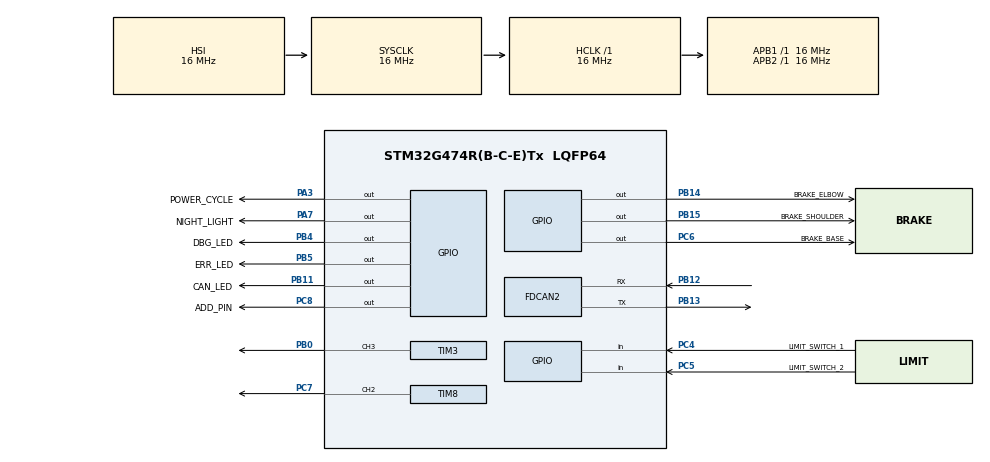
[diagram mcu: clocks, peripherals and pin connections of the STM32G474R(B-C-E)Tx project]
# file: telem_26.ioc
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Dma.Request0=TIM3_CH3
Dma.TIM3_CH3.0.Direction=DMA_MEMORY_TO_PERIPH
Dma.TIM3_CH3.0.EventEnable=DISABLE
Dma.TIM3_CH3.0.Instance=DMA1_Channel1
Dma.TIM3_CH3.0.MemDataAlignment=DMA_MDATAALIGN_HALFWORD
Dma.TIM3_CH3.0.MemInc=DMA_MINC_ENABLE
Dma.TIM3_CH3.0.Mode=DMA_NORMAL
Dma.TIM3_CH3.0.PeriphDataAlignment=DMA_PDATAALIGN_HALFWORD
Dma.TIM3_CH3.0.PeriphInc=DMA_PINC_DISABLE
Dma.TIM3_CH3.0.Polarity=HAL_DMAMUX_REQ_GEN_RISING
Dma.TIM3_CH3.0.Priority=DMA_PRIORITY_LOW
Dma.TIM3_CH3.0.RequestNumber=1
Dma.TIM3_CH3.0.SignalID=NONE
Dma.TIM3_CH3.0.SyncEnable=DISABLE
Dma.TIM3_CH3.0.SyncPolarity=HAL_DMAMUX_SYNC_NO_EVENT
Dma.TIM3_CH3.0.SyncRequestNumber=1
Dma.TIM3_CH3.0.SyncSignalID=NONE
FDCAN2.CalculateBaudRateNominal=333333
FDCAN2.CalculateTimeBitNominal=3000
FDCAN2.CalculateTimeQuantumNominal=1000.0
Mcu.Family=STM32G4
Mcu.Name=STM32G474R(B-C-E)Tx
Mcu.Package=LQFP64
NVIC.DMA1_Channel1_IRQn=true\:0\:0\:false\:false\:true\:false\:true\:true
NVIC.PriorityGroup=NVIC_PRIORITYGROUP_4
PA13.Signal=SYS_JTMS-SWDIO
PA14.Signal=SYS_JTCK-SWCLK
PA15.Signal=SYS_JTDI
PA3.GPIO_Label=POWER_CYCLE
PA3.Signal=GPIO_Output
PA7.GPIO_Label=NIGHT_LIGHT
PA7.Signal=GPIO_Output
PB0.Signal=S_TIM3_CH3
PB11.GPIO_Label=CAN_LED
PB11.Signal=GPIO_Output
PB12.Mode=FDCAN_Activate
PB12.Signal=FDCAN2_RX
PB13.Mode=FDCAN_Activate
PB13.Signal=FDCAN2_TX
PB14.GPIO_Label=BRAKE_ELBOW
PB14.Signal=GPIO_Output
PB15.GPIO_Label=BRAKE_SHOULDER
PB15.Signal=GPIO_Output
PB3.Signal=SYS_JTDO-SWO
PB4.GPIO_Label=DBG_LED
PB4.Signal=GPIO_Output
PB5.GPIO_Label=ERR_LED
PB5.Signal=GPIO_Output
PB6.Signal=USART1_TX
PB7.Signal=USART1_RX
PC10.Signal=USART3_TX
PC11.Signal=USART3_RX
PC4.GPIO_Label=LIMIT_SWITCH_1
PC4.Signal=GPIO_Input
PC5.GPIO_Label=LIMIT_SWITCH_2
PC5.Signal=GPIO_Input
PC6.GPIO_Label=BRAKE_BASE
PC6.Signal=GPIO_Output
PC7.Signal=S_TIM8_CH2
PC8.GPIO_Label=ADD_PIN
PC8.Signal=GPIO_Output
ProjectManager.HeapSize=0x200
ProjectManager.StackSize=0x400
ProjectManager.TargetToolchain=STM32CubeIDE
RCC.AHBFreq_Value=16000000
RCC.APB1Freq_Value=16000000
RCC.APB1TimFreq_Value=16000000
RCC.APB2Freq_Value=16000000
RCC.APB2TimFreq_Value=16000000
RCC.CortexFreq_Value=16000000
RCC.EXTERNAL_CLOCK_VALUE=12288000
RCC.HCLKFreq_Value=16000000
RCC.HSE_VALUE=8000000
RCC.HSI48_VALUE=48000000
RCC.HSI_VALUE=16000000
RCC.LSE_VALUE=32768
RCC.SYSCLKFreq_VALUE=16000000
RCC.USBFreq_Value=64000000
RCC.VCOOutputFreq_Value=128000000
SH.S_TIM3_CH3.0=TIM3_CH3,PWM Generation3 CH3
SH.S_TIM8_CH2.0=TIM8_CH2,PWM Generation2 CH2
TIM3.Channel-PWM\ Generation3\ CH3=TIM_CHANNEL_3
TIM3.PeriodNoDither=19
TIM8.Channel-PWM\ Generation2\ CH2=TIM_CHANNEL_2
TIM8.PeriodNoDither=19999
TIM8.Prescaler=15
VP_SYS_VS_DBSignals.Mode=DisableDeadBatterySignals
VP_TIM3_VS_ClockSourceINT.Mode=Internal
VP_TIM8_VS_ClockSourceINT.Mode=Internal
board=custom

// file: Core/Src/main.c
/* USER CODE BEGIN Header */
/**
  ******************************************************************************
  * @file           : main.c
  * @brief          : Main program body
  ******************************************************************************
  * @attention
  *
  * Copyright (c) 2026 STMicroelectronics.
  * All rights reserved.
  *
  * This software is licensed under terms that can be found in the LICENSE file
  * in the root directory of this software component.
  * If no LICENSE file comes with this software, it is provided AS-IS.
  *
  ******************************************************************************
  */
/* USER CODE END Header */
#include "main.h"

/* USER CODE BEGIN Includes */
#include "telemetry_can.h"
#include "telemetry_led.h"
#include "telemetry_servo.h"
#include "ws2812_driver.h"
/* USER CODE END Includes */

FDCAN_HandleTypeDef hfdcan2;

TIM_HandleTypeDef htim3;
TIM_HandleTypeDef htim8;
DMA_HandleTypeDef hdma_tim3_ch3;

void SystemClock_Config(void);
static void MX_GPIO_Init(void);
static void MX_DMA_Init(void);
static void MX_FDCAN2_Init(void);
static void MX_TIM8_Init(void);
static void MX_TIM3_Init(void);

int main(void)
{

  /* MCU Configuration--------------------------------------------------------*/

  /* Reset of all peripherals, Initializes the Flash interface and the Systick. */
  HAL_Init();

  /* Configure the system clock */
  SystemClock_Config();

  /* Initialize all configured peripherals */
  MX_GPIO_Init();
  MX_DMA_Init();
  MX_FDCAN2_Init();
  MX_TIM8_Init();
  MX_TIM3_Init();
  /* USER CODE BEGIN 2 */
  TelemetryLEDs_Init();

  TelemetryCAN_Init(&hfdcan2);

  TelemetryLimits_Init();

  TelemetryServo_Init(&htim8);

  const WS2812_Config strip_test = {
      .timer           = &htim3,
      .channel         = TIM_CHANNEL_3,  // PB0
      .led_count       = 10u,
      .zero_high_ticks = 6u,
      .one_high_ticks  = 11u,
      .latch_slots     = 256u
  }; // This is temporary, actual values will vary according to actual led.

  WS2812_Init(&strip_test);

  /* USER CODE END 2 */

  /* Infinite loop */
  while (1)
  {

    /* USER CODE BEGIN 3 */
	  TelemetryCAN_Process();
	  TelemetryLimits_Update();
	  TelemetryLEDs_Update();
  }
  /* USER CODE END 3 */
}

void SystemClock_Config(void)
{
  RCC_OscInitTypeDef RCC_OscInitStruct = {0};
  RCC_ClkInitTypeDef RCC_ClkInitStruct = {0};

  /** Configure the main internal regulator output voltage
  */
  HAL_PWREx_ControlVoltageScaling(PWR_REGULATOR_VOLTAGE_SCALE1);

  /** Initializes the RCC Oscillators according to the specified parameters
  * in the RCC_OscInitTypeDef structure.
  */
  RCC_OscInitStruct.OscillatorType = RCC_OSCILLATORTYPE_HSI;
  RCC_OscInitStruct.HSIState = RCC_HSI_ON;
  RCC_OscInitStruct.HSICalibrationValue = RCC_HSICALIBRATION_DEFAULT;
  RCC_OscInitStruct.PLL.PLLState = RCC_PLL_NONE;
  if (HAL_RCC_OscConfig(&RCC_OscInitStruct) != HAL_OK)
  {
    Error_Handler();
  }

  /** Initializes the CPU, AHB and APB buses clocks
  */
  RCC_ClkInitStruct.ClockType = RCC_CLOCKTYPE_HCLK|RCC_CLOCKTYPE_SYSCLK
                              |RCC_CLOCKTYPE_PCLK1|RCC_CLOCKTYPE_PCLK2;
  RCC_ClkInitStruct.SYSCLKSource = RCC_SYSCLKSOURCE_HSI;
  RCC_ClkInitStruct.AHBCLKDivider = RCC_SYSCLK_DIV1;
  RCC_ClkInitStruct.APB1CLKDivider = RCC_HCLK_DIV1;
  RCC_ClkInitStruct.APB2CLKDivider = RCC_HCLK_DIV1;

  if (HAL_RCC_ClockConfig(&RCC_ClkInitStruct, FLASH_LATENCY_0) != HAL_OK)
  {
    Error_Handler();
  }
}

static void MX_FDCAN2_Init(void)
{

  hfdcan2.Instance = FDCAN2;
  hfdcan2.Init.ClockDivider = FDCAN_CLOCK_DIV1;
  hfdcan2.Init.FrameFormat = FDCAN_FRAME_CLASSIC;
  hfdcan2.Init.Mode = FDCAN_MODE_NORMAL;
  hfdcan2.Init.AutoRetransmission = DISABLE;
  hfdcan2.Init.TransmitPause = DISABLE;
  hfdcan2.Init.ProtocolException = DISABLE;
  hfdcan2.Init.NominalPrescaler = 16;
  hfdcan2.Init.NominalSyncJumpWidth = 1;
  hfdcan2.Init.NominalTimeSeg1 = 1;
  hfdcan2.Init.NominalTimeSeg2 = 1;
  hfdcan2.Init.DataPrescaler = 1;
  hfdcan2.Init.DataSyncJumpWidth = 1;
  hfdcan2.Init.DataTimeSeg1 = 1;
  hfdcan2.Init.DataTimeSeg2 = 1;
  hfdcan2.Init.StdFiltersNbr = 0;
  hfdcan2.Init.ExtFiltersNbr = 0;
  hfdcan2.Init.TxFifoQueueMode = FDCAN_TX_FIFO_OPERATION;
  if (HAL_FDCAN_Init(&hfdcan2) != HAL_OK)
  {
    Error_Handler();
  }

}

static void MX_TIM3_Init(void)
{

  TIM_ClockConfigTypeDef sClockSourceConfig = {0};
  TIM_MasterConfigTypeDef sMasterConfig = {0};
  TIM_OC_InitTypeDef sConfigOC = {0};

  htim3.Instance = TIM3;
  htim3.Init.Prescaler = 0;
  htim3.Init.CounterMode = TIM_COUNTERMODE_UP;
  htim3.Init.Period = 19;
  htim3.Init.ClockDivision = TIM_CLOCKDIVISION_DIV1;
  htim3.Init.AutoReloadPreload = TIM_AUTORELOAD_PRELOAD_DISABLE;
  if (HAL_TIM_Base_Init(&htim3) != HAL_OK)
  {
    Error_Handler();
  }
  sClockSourceConfig.ClockSource = TIM_CLOCKSOURCE_INTERNAL;
  if (HAL_TIM_ConfigClockSource(&htim3, &sClockSourceConfig) != HAL_OK)
  {
    Error_Handler();
  }
  if (HAL_TIM_PWM_Init(&htim3) != HAL_OK)
  {
    Error_Handler();
  }
  sMasterConfig.MasterOutputTrigger = TIM_TRGO_RESET;
  sMasterConfig.MasterSlaveMode = TIM_MASTERSLAVEMODE_DISABLE;
  if (HAL_TIMEx_MasterConfigSynchronization(&htim3, &sMasterConfig) != HAL_OK)
  {
    Error_Handler();
  }
  sConfigOC.OCMode = TIM_OCMODE_PWM1;
  sConfigOC.Pulse = 0;
  sConfigOC.OCPolarity = TIM_OCPOLARITY_HIGH;
  sConfigOC.OCFastMode = TIM_OCFAST_DISABLE;
  if (HAL_TIM_PWM_ConfigChannel(&htim3, &sConfigOC, TIM_CHANNEL_3) != HAL_OK)
  {
    Error_Handler();
  }
  HAL_TIM_MspPostInit(&htim3);

}

static void MX_TIM8_Init(void)
{

  TIM_ClockConfigTypeDef sClockSourceConfig = {0};
  TIM_MasterConfigTypeDef sMasterConfig = {0};
  TIM_OC_InitTypeDef sConfigOC = {0};
  TIM_BreakDeadTimeConfigTypeDef sBreakDeadTimeConfig = {0};

  htim8.Instance = TIM8;
  htim8.Init.Prescaler = 15;
  htim8.Init.CounterMode = TIM_COUNTERMODE_UP;
  htim8.Init.Period = 19999;
  htim8.Init.ClockDivision = TIM_CLOCKDIVISION_DIV1;
  htim8.Init.RepetitionCounter = 0;
  htim8.Init.AutoReloadPreload = TIM_AUTORELOAD_PRELOAD_DISABLE;
  if (HAL_TIM_Base_Init(&htim8) != HAL_OK)
  {
    Error_Handler();
  }
  sClockSourceConfig.ClockSource = TIM_CLOCKSOURCE_INTERNAL;
  if (HAL_TIM_ConfigClockSource(&htim8, &sClockSourceConfig) != HAL_OK)
  {
    Error_Handler();
  }
  if (HAL_TIM_PWM_Init(&htim8) != HAL_OK)
  {
    Error_Handler();
  }
  sMasterConfig.MasterOutputTrigger = TIM_TRGO_RESET;
  sMasterConfig.MasterOutputTrigger2 = TIM_TRGO2_RESET;
  sMasterConfig.MasterSlaveMode = TIM_MASTERSLAVEMODE_DISABLE;
  if (HAL_TIMEx_MasterConfigSynchronization(&htim8, &sMasterConfig) != HAL_OK)
  {
    Error_Handler();
  }
  sConfigOC.OCMode = TIM_OCMODE_PWM1;
  sConfigOC.Pulse = 0;
  sConfigOC.OCPolarity = TIM_OCPOLARITY_HIGH;
  sConfigOC.OCNPolarity = TIM_OCNPOLARITY_HIGH;
  sConfigOC.OCFastMode = TIM_OCFAST_DISABLE;
  sConfigOC.OCIdleState = TIM_OCIDLESTATE_RESET;
  sConfigOC.OCNIdleState = TIM_OCNIDLESTATE_RESET;
  if (HAL_TIM_PWM_ConfigChannel(&htim8, &sConfigOC, TIM_CHANNEL_2) != HAL_OK)
  {
    Error_Handler();
  }
  sBreakDeadTimeConfig.OffStateRunMode = TIM_OSSR_DISABLE;
  sBreakDeadTimeConfig.OffStateIDLEMode = TIM_OSSI_DISABLE;
  sBreakDeadTimeConfig.LockLevel = TIM_LOCKLEVEL_OFF;
  sBreakDeadTimeConfig.DeadTime = 0;
  sBreakDeadTimeConfig.BreakState = TIM_BREAK_DISABLE;
  sBreakDeadTimeConfig.BreakPolarity = TIM_BREAKPOLARITY_HIGH;
  sBreakDeadTimeConfig.BreakFilter = 0;
  sBreakDeadTimeConfig.BreakAFMode = TIM_BREAK_AFMODE_INPUT;
  sBreakDeadTimeConfig.Break2State = TIM_BREAK2_DISABLE;
  sBreakDeadTimeConfig.Break2Polarity = TIM_BREAK2POLARITY_HIGH;
  sBreakDeadTimeConfig.Break2Filter = 0;
  sBreakDeadTimeConfig.Break2AFMode = TIM_BREAK_AFMODE_INPUT;
  sBreakDeadTimeConfig.AutomaticOutput = TIM_AUTOMATICOUTPUT_DISABLE;
  if (HAL_TIMEx_ConfigBreakDeadTime(&htim8, &sBreakDeadTimeConfig) != HAL_OK)
  {
    Error_Handler();
  }
  HAL_TIM_MspPostInit(&htim8);

}

static void MX_DMA_Init(void)
{

  /* DMA controller clock enable */
  __HAL_RCC_DMAMUX1_CLK_ENABLE();
  __HAL_RCC_DMA1_CLK_ENABLE();

  /* DMA interrupt init */
  /* DMA1_Channel1_IRQn interrupt configuration */
  HAL_NVIC_SetPriority(DMA1_Channel1_IRQn, 0, 0);
  HAL_NVIC_EnableIRQ(DMA1_Channel1_IRQn);

}

static void MX_GPIO_Init(void)
{
  GPIO_InitTypeDef GPIO_InitStruct = {0};

  /* GPIO Ports Clock Enable */
  __HAL_RCC_GPIOA_CLK_ENABLE();
  __HAL_RCC_GPIOC_CLK_ENABLE();
  __HAL_RCC_GPIOB_CLK_ENABLE();

  /*Configure GPIO pin Output Level */
  HAL_GPIO_WritePin(GPIOA, POWER_CYCLE_Pin|NIGHT_LIGHT_Pin, GPIO_PIN_RESET);

  /*Configure GPIO pin Output Level */
  HAL_GPIO_WritePin(GPIOB, CAN_LED_Pin|BRAKE_ELBOW_Pin|BRAKE_SHOULDER_Pin|DBG_LED_Pin
                          |ERR_LED_Pin, GPIO_PIN_RESET);

  /*Configure GPIO pin Output Level */
  HAL_GPIO_WritePin(GPIOC, BRAKE_BASE_Pin|ADD_PIN_Pin, GPIO_PIN_RESET);

  /*Configure GPIO pins : POWER_CYCLE_Pin NIGHT_LIGHT_Pin */
  GPIO_InitStruct.Pin = POWER_CYCLE_Pin|NIGHT_LIGHT_Pin;
  GPIO_InitStruct.Mode = GPIO_MODE_OUTPUT_PP;
  GPIO_InitStruct.Pull = GPIO_NOPULL;
  GPIO_InitStruct.Speed = GPIO_SPEED_FREQ_LOW;
  HAL_GPIO_Init(GPIOA, &GPIO_InitStruct);

  /*Configure GPIO pins : LIMIT_SWITCH_1_Pin LIMIT_SWITCH_2_Pin */
  GPIO_InitStruct.Pin = LIMIT_SWITCH_1_Pin|LIMIT_SWITCH_2_Pin;
  GPIO_InitStruct.Mode = GPIO_MODE_INPUT;
  GPIO_InitStruct.Pull = GPIO_NOPULL;
  HAL_GPIO_Init(GPIOC, &GPIO_InitStruct);

  /*Configure GPIO pins : CAN_LED_Pin BRAKE_ELBOW_Pin BRAKE_SHOULDER_Pin DBG_LED_Pin
                           ERR_LED_Pin */
  GPIO_InitStruct.Pin = CAN_LED_Pin|BRAKE_ELBOW_Pin|BRAKE_SHOULDER_Pin|DBG_LED_Pin
                          |ERR_LED_Pin;
  GPIO_InitStruct.Mode = GPIO_MODE_OUTPUT_PP;
  GPIO_InitStruct.Pull = GPIO_NOPULL;
  GPIO_InitStruct.Speed = GPIO_SPEED_FREQ_LOW;
  HAL_GPIO_Init(GPIOB, &GPIO_InitStruct);

  /*Configure GPIO pins : BRAKE_BASE_Pin ADD_PIN_Pin */
  GPIO_InitStruct.Pin = BRAKE_BASE_Pin|ADD_PIN_Pin;
  GPIO_InitStruct.Mode = GPIO_MODE_OUTPUT_PP;
  GPIO_InitStruct.Pull = GPIO_NOPULL;
  GPIO_InitStruct.Speed = GPIO_SPEED_FREQ_LOW;
  HAL_GPIO_Init(GPIOC, &GPIO_InitStruct);

  /*Configure GPIO pins : PC10 PC11 */
  GPIO_InitStruct.Pin = GPIO_PIN_10|GPIO_PIN_11;
  GPIO_InitStruct.Mode = GPIO_MODE_AF_PP;
  GPIO_InitStruct.Pull = GPIO_NOPULL;
  GPIO_InitStruct.Speed = GPIO_SPEED_FREQ_LOW;
  GPIO_InitStruct.Alternate = GPIO_AF7_USART3;
  HAL_GPIO_Init(GPIOC, &GPIO_InitStruct);

  /*Configure GPIO pins : PB6 PB7 */
  GPIO_InitStruct.Pin = GPIO_PIN_6|GPIO_PIN_7;
  GPIO_InitStruct.Mode = GPIO_MODE_AF_PP;
  GPIO_InitStruct.Pull = GPIO_NOPULL;
  GPIO_InitStruct.Speed = GPIO_SPEED_FREQ_LOW;
  GPIO_InitStruct.Alternate = GPIO_AF7_USART1;
  HAL_GPIO_Init(GPIOB, &GPIO_InitStruct);

}

void Error_Handler(void)
{
  __disable_irq();
  while (1)
  {
  }
}
